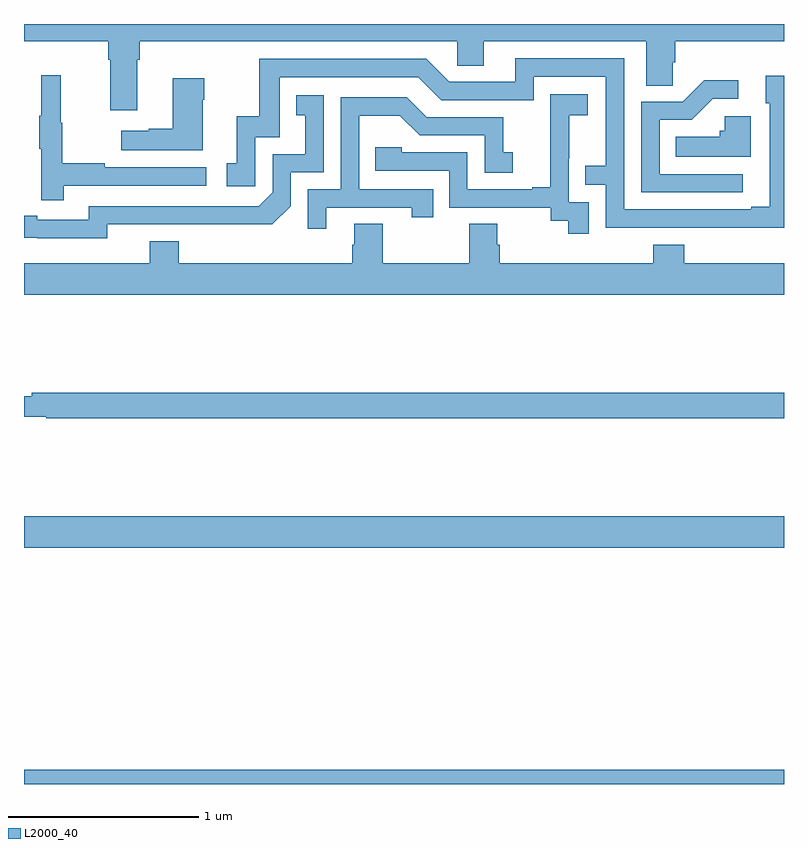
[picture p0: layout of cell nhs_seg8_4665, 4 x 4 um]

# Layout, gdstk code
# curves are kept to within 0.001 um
import gdstk
lib = gdstk.Library(unit=1e-6, precision=1e-09)
def R(c, l, rs):  # rectangles x0, y0, x1, y1
    for r in rs: c.add(gdstk.rectangle(r[:2], r[2:], *l))
def P(c, l, *ps):  # polygons
    for p in ps: c.add(gdstk.Polygon(p, *l))
L2000_40 = (2000, 40)

nhs_seg8_4665 = lib.new_cell('nhs_seg8_4665')
R(nhs_seg8_4665, L2000_40, [(393,1137.9,397,1137.976), (393,1139.144,397,1139.308)])
P(nhs_seg8_4665, L2000_40, [(393.595,1141.712),(393.608,1141.712),(393.608,1141.808),(395.28,1141.808),(395.28,1141.681),(395.419,1141.681),(395.419,1141.808),(396.275,1141.808),(396.275,1141.576),(396.414,1141.576),(396.414,1141.699),(396.428,1141.699),(396.428,1141.808),(397,1141.808),(397,1141.9),(393,1141.9),(393,1141.808),(393.443,1141.808),(393.443,1141.712),(393.455,1141.712),(393.455,1141.446),(393.595,1141.446)],
  [(397,1141.627),(396.905,1141.627),(396.905,1141.482),(396.924,1141.482),(396.924,1140.937),(396.827,1140.937),(396.827,1140.924),(396.159,1140.924),(396.159,1141.719),(395.585,1141.719),(395.585,1141.596),(395.238,1141.596),(395.118,1141.716),(394.239,1141.716),(394.239,1141.414),(394.121,1141.414),(394.121,1141.167),(394.068,1141.167),(394.068,1141.047),(394.218,1141.047),(394.218,1141.305),(394.347,1141.305),(394.347,1141.62),(395.076,1141.62),(395.196,1141.5),(395.682,1141.5),(395.682,1141.623),(396.063,1141.623),(396.063,1141.154),(395.953,1141.154),(395.953,1141.053),(396.063,1141.053),(396.063,1140.828),(397,1140.827)],
  [(393.209,1141.05),(393.958,1141.05),(393.958,1141.146),(393.425,1141.146),(393.425,1141.166),(393.202,1141.166),(393.202,1141.38),(393.194,1141.38),(393.194,1141.63),(393.092,1141.63),(393.092,1141.417),(393.081,1141.417),(393.081,1141.243),(393.092,1141.243),(393.092,1140.972),(393.209,1140.972)],
  [(393.94,1141.502),(393.948,1141.502),(393.948,1141.615),(393.782,1141.615),(393.782,1141.349),(393.656,1141.349),(393.656,1141.339),(393.513,1141.339),(393.513,1141.235),(393.94,1141.235)],
  [(396.784,1141.11),(396.345,1141.11),(396.345,1141.395),(396.514,1141.395),(396.625,1141.506),(396.76,1141.506),(396.76,1141.604),(396.581,1141.604),(396.468,1141.491),(396.249,1141.491),(396.249,1141.014),(396.784,1141.014)],
  [(395.973,1140.963),(395.868,1140.963),(395.868,1141.193),(395.87,1141.193),(395.87,1141.421),(395.968,1141.421),(395.968,1141.531),(395.77,1141.531),(395.77,1141.325),(395.771,1141.325),(395.771,1141.042),(395.675,1141.042),(395.675,1141.029),(395.334,1141.029),(395.334,1141.224),(394.989,1141.224),(394.989,1141.251),(394.849,1141.251),(394.849,1141.128),(395.238,1141.128),(395.238,1140.933),(395.772,1140.933),(395.772,1140.865),(395.865,1140.865),(395.865,1140.795),(395.973,1140.795)],
  [(393.438,1140.846),(394.306,1140.845),(394.404,1140.942),(394.404,1141.119),(394.578,1141.119),(394.578,1141.525),(394.432,1141.525),(394.432,1141.419),(394.481,1141.419),(394.481,1141.215),(394.308,1141.215),(394.308,1141.014),(394.236,1140.942),(393.342,1140.942),(393.342,1140.87),(393.07,1140.87),(393.07,1140.89),(393,1140.89),(393,1140.774),(393.438,1140.773)],
  [(394.591,1140.933),(395.042,1140.933),(395.042,1140.882),(395.153,1140.882),(395.153,1141.029),(394.764,1141.029),(394.764,1141.418),(394.978,1141.418),(395.082,1141.314),(395.424,1141.314),(395.424,1141.116),(395.572,1141.116),(395.572,1141.225),(395.523,1141.225),(395.523,1141.41),(395.119,1141.41),(395.014,1141.515),(394.668,1141.515),(394.668,1141.029),(394.494,1141.029),(394.494,1140.822),(394.591,1140.822)],
  [(396.826,1141.414),(396.687,1141.414),(396.687,1141.338),(396.661,1141.338),(396.661,1141.306),(396.43,1141.306),(396.43,1141.202),(396.826,1141.202)],
  [(397,1140.64),(396.476,1140.64),(396.476,1140.739),(396.311,1140.739),(396.311,1140.64),(395.504,1140.64),(395.504,1140.738),(395.491,1140.738),(395.491,1140.848),(395.344,1140.848),(395.344,1140.64),(394.887,1140.64),(394.887,1140.848),(394.739,1140.848),(394.739,1140.738),(394.727,1140.738),(394.727,1140.64),(393.815,1140.64),(393.815,1140.757),(393.662,1140.757),(393.662,1140.64),(393,1140.64),(393,1140.476),(397,1140.476)],
  [(397,1139.96),(393.04,1139.96),(393.04,1139.941),(393,1139.941),(393,1139.832),(393.116,1139.832),(393.116,1139.824),(397,1139.824)])

lib.write_gds('nhs_seg8_4665.gds')
